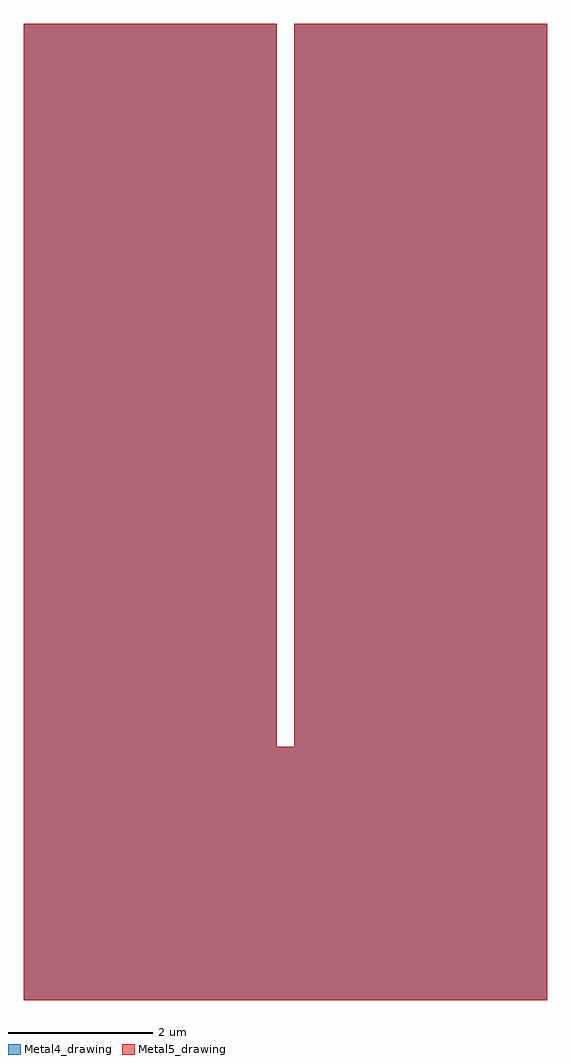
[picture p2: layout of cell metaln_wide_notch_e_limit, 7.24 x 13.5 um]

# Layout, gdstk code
import gdstk
lib = gdstk.Library(unit=1e-6, precision=1e-09)
def R(c, l, rs):  # rectangles x0, y0, x1, y1
    for r in rs: c.add(gdstk.rectangle(r[:2], r[2:], *l))
Metal4_drawing = (50, 0)
Metal5_drawing = (67, 0)

metaln_wide_notch_e_limi = lib.new_cell('metaln_wide_notch_e_limit')
R(metaln_wide_notch_e_limi, Metal4_drawing, [(-3.5,-3.5,3.74,0), (-3.5,0,0,10), (0.24,0,3.74,10)])
R(metaln_wide_notch_e_limi, Metal5_drawing, [(-3.5,-3.5,3.74,0), (-3.5,0,0,10), (0.24,0,3.74,10)])
metaln_wide_notch_e_limi.add(gdstk.Label('metaln_wide_notch_e_limit: U of two 3.5 arms, notch 0.24, run 10', (0,-4.5), layer=63, texttype=0))

lib.write_gds('metaln_wide_notch_e_limit.gds')
